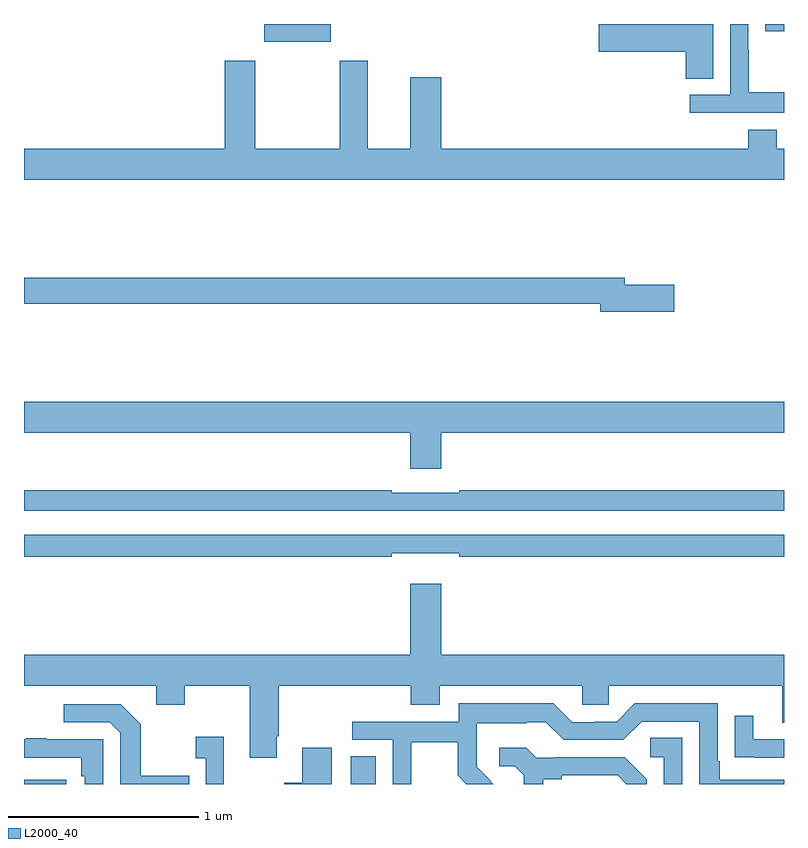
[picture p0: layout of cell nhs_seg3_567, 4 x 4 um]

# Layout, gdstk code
import gdstk
lib = gdstk.Library(unit=1e-6, precision=1e-09)
def R(c, l, rs):  # rectangles x0, y0, x1, y1
    for r in rs: c.add(gdstk.rectangle(r[:2], r[2:], *l))
def P(c, l, *ps):  # polygons
    for p in ps: c.add(gdstk.Polygon(p, *l))
L2000_40 = (2000, 40)

nhs_seg3_567 = lib.new_cell('nhs_seg3_567')
R(nhs_seg3_567, L2000_40, [(139,700.4,139.222,700.422), (140.72,700.4,140.851,700.547), (140.264,704.306,140.614,704.4), (142.901,704.361,143,704.4)])
P(nhs_seg3_567, L2000_40, [(143,704.041),(142.815,704.041),(142.815,704.264),(142.812,704.264),(142.812,704.4),(142.716,704.4),(142.716,704.028),(142.503,704.028),(142.503,703.932),(143,703.932)],
  [(142.627,704.4),(142.026,704.4),(142.026,704.255),(142.484,704.255),(142.484,704.113),(142.627,704.113)],
  [(143,703.744),(142.963,703.744),(142.963,703.843),(142.811,703.843),(142.811,703.744),(141.196,703.744),(141.196,704.119),(141.032,704.119),(141.032,703.744),(140.809,703.744),(140.809,704.206),(140.662,704.206),(140.662,703.744),(140.217,703.744),(140.217,704.206),(140.057,704.206),(140.057,703.744),(139,703.744),(139,703.58),(143,703.58)],
  [(142.423,703.028),(142.162,703.028),(142.162,703.064),(139,703.064),(139,702.928),(142.034,702.928),(142.034,702.886),(142.423,702.886)],
  [(141.196,702.248),(143,702.248),(143,702.412),(139,702.412),(139,702.248),(141.032,702.248),(141.032,702.06),(141.196,702.06)],
  [(143,701.947),(141.292,701.947),(141.292,701.934),(140.936,701.934),(140.936,701.947),(139,701.947),(139,701.838),(143,701.838)],
  [(140.936,701.615),(141.292,701.615),(141.292,701.596),(143,701.596),(143,701.712),(139,701.712),(139,701.596),(140.936,701.596)],
  [(140.329,700.651),(140.342,700.651),(140.342,700.916),(141.035,700.916),(141.035,700.817),(141.187,700.817),(141.187,700.916),(141.939,700.916),(141.939,700.818),(142.077,700.818),(142.077,700.916),(142.991,700.916),(142.991,700.722),(143,700.722),(143,701.08),(141.196,701.08),(141.196,701.455),(141.032,701.455),(141.032,701.08),(139,701.08),(139,700.916),(139.697,700.916),(139.697,700.817),(139.845,700.817),(139.845,700.916),(140.189,700.916),(140.189,700.539),(140.329,700.539)],
  [(141.039,700.62),(141.283,700.62),(141.283,700.445),(141.328,700.4),(141.47,700.4),(141.455,700.415),(141.456,700.416),(141.382,700.49),(141.382,700.587),(141.384,700.587),(141.384,700.721),(141.647,700.721),(141.647,700.725),(141.747,700.725),(141.84,700.632),(142.155,700.632),(142.251,700.728),(142.554,700.728),(142.554,700.4),(143,700.4),(143,700.422),(142.663,700.422),(142.663,700.519),(142.65,700.519),(142.65,700.824),(142.215,700.824),(142.119,700.728),(142.001,700.728),(142.001,700.725),(141.885,700.725),(141.785,700.825),(141.288,700.825),(141.288,700.728),(140.727,700.728),(140.727,700.632),(140.94,700.632),(140.94,700.4),(141.039,700.4)],
  [(139.871,700.443),(139.615,700.443),(139.615,700.715),(139.509,700.821),(139.209,700.821),(139.209,700.725),(139.452,700.725),(139.506,700.671),(139.506,700.4),(139.871,700.4)],
  [(143,700.635),(142.837,700.635),(142.837,700.759),(142.741,700.759),(142.741,700.54),(142.843,700.54),(142.843,700.539),(143,700.539)],
  [(140.052,700.648),(139.905,700.648),(139.905,700.535),(139.956,700.535),(139.956,700.4),(140.052,700.4)],
  [(142.464,700.643),(142.296,700.643),(142.296,700.542),(142.368,700.542),(142.368,700.4),(142.464,700.4)],
  [(139.416,700.635),(139.121,700.635),(139.121,700.64),(139.009,700.64),(139.009,700.635),(139,700.635),(139,700.539),(139.3,700.539),(139.3,700.442),(139.32,700.442),(139.32,700.4),(139.416,700.4)],
  [(141.733,700.424),(141.829,700.424),(141.829,700.446),(142.124,700.446),(142.17,700.4),(142.278,700.4),(142.278,700.426),(142.162,700.542),(141.79,700.542),(141.79,700.539),(141.696,700.539),(141.644,700.591),(141.501,700.591),(141.501,700.494),(141.582,700.494),(141.629,700.447),(141.629,700.4),(141.733,700.4)],
  [(140.62,700.591),(140.465,700.591),(140.465,700.406),(140.369,700.406),(140.369,700.4),(140.62,700.4)])

lib.write_gds('nhs_seg3_567.gds')
